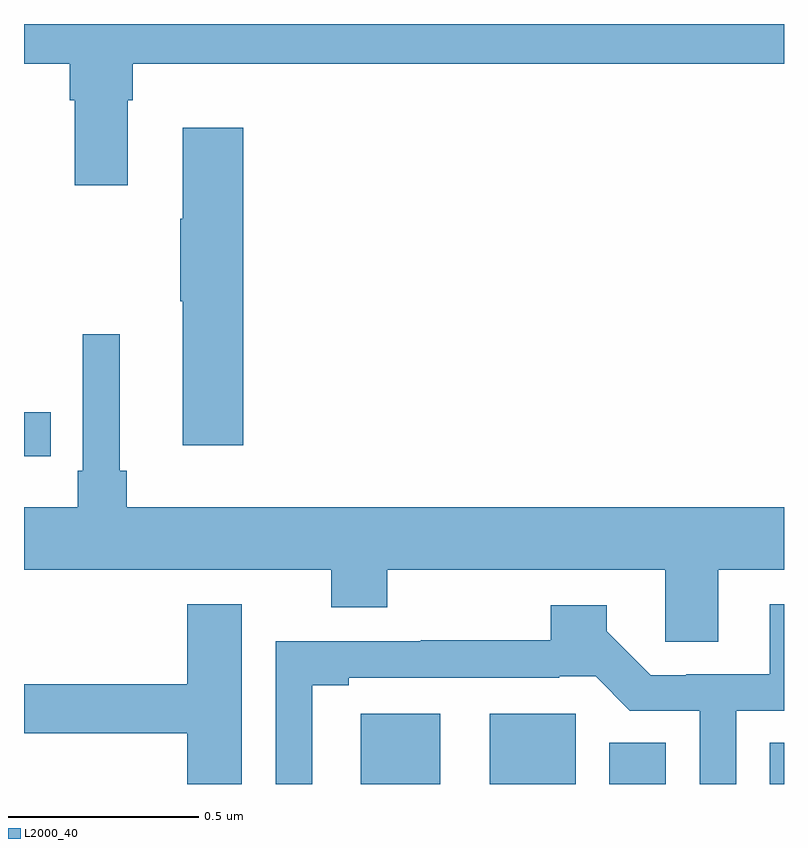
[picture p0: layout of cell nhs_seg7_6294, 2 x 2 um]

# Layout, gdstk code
import gdstk
lib = gdstk.Library(unit=1e-6, precision=1e-09)
def R(c, l, rs):  # rectangles x0, y0, x1, y1
    for r in rs: c.add(gdstk.rectangle(r[:2], r[2:], *l))
def P(c, l, *ps):  # polygons
    for p in ps: c.add(gdstk.Polygon(p, *l))
L2000_40 = (2000, 40)

nhs_seg7_6294 = lib.new_cell('nhs_seg7_6294')
R(nhs_seg7_6294, L2000_40, [(196.886,1052,197.095,1052.185), (197.225,1052,197.452,1052.185), (197.54,1052,197.689,1052.108), (197.963,1052,198,1052.108), (196,1052.862,196.07,1052.978)])
P(nhs_seg7_6294, L2000_40, [(196.273,1053.8),(196.286,1053.8),(196.286,1053.896),(198,1053.896),(198,1054),(196,1054),(196,1053.896),(196.121,1053.896),(196.121,1053.8),(196.133,1053.8),(196.133,1053.576),(196.273,1053.576)],
  [(196.577,1053.727),(196.418,1053.727),(196.418,1053.488),(196.411,1053.488),(196.411,1053.271),(196.418,1053.271),(196.418,1052.892),(196.577,1052.892)],
  [(197.827,1052.564),(198,1052.564),(198,1052.728),(196.271,1052.728),(196.271,1052.824),(196.252,1052.824),(196.252,1053.184),(196.155,1053.184),(196.155,1052.824),(196.142,1052.824),(196.142,1052.728),(196,1052.728),(196,1052.564),(196.808,1052.564),(196.808,1052.465),(196.956,1052.465),(196.956,1052.564),(197.688,1052.564),(197.688,1052.374),(197.827,1052.374)],
  [(196.758,1052.26),(196.855,1052.26),(196.855,1052.28),(197.408,1052.28),(197.408,1052.283),(197.504,1052.283),(197.594,1052.193),(197.778,1052.193),(197.778,1052),(197.874,1052),(197.874,1052.193),(198,1052.193),(198,1052.473),(197.963,1052.473),(197.963,1052.289),(197.743,1052.289),(197.743,1052.286),(197.649,1052.286),(197.533,1052.402),(197.533,1052.47),(197.386,1052.47),(197.386,1052.378),(197.044,1052.378),(197.044,1052.376),(196.662,1052.376),(196.662,1052),(196.758,1052)],
  [(196.573,1052.473),(196.43,1052.473),(196.43,1052.263),(196,1052.263),(196,1052.134),(196.43,1052.134),(196.43,1052),(196.573,1052)])

lib.write_gds('nhs_seg7_6294.gds')
